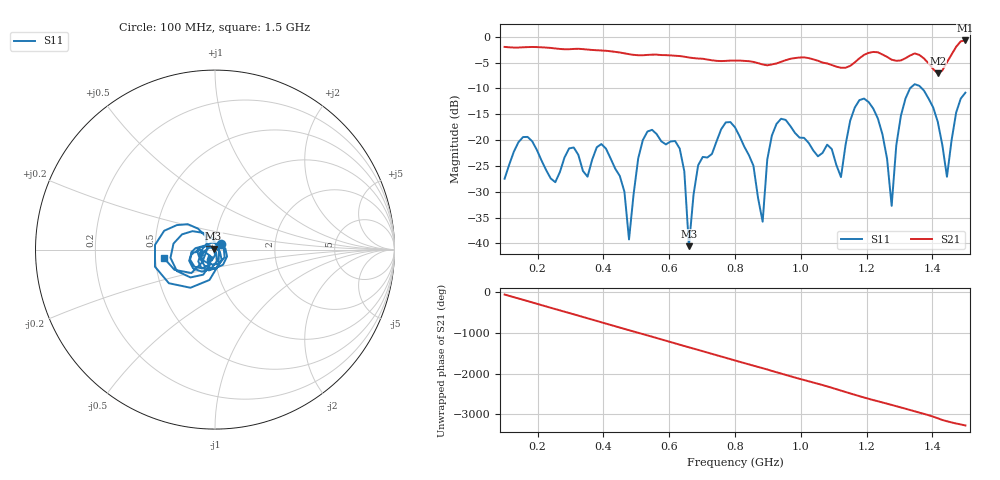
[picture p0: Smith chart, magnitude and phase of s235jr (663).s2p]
! NanoVNA-App
! Date: 2025-09-25 15:09:20
! Start: 100MHz Stop: 1,5GHz Points: 101
! S-Parameter data: F S11 S21 S12 S22
# Hz S RI R 50
!  Frequency  S11_Real  S11_Imag  S21_Real  S21_Imag  S12_Real  S12_Imag  S22_Real  S22_Imag
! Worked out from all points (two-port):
!   101 points, 100 MHz to 1.5 GHz, reference 50 ohm
!   highest |S21| = -0.71 dB at 1.5 GHz (marker M1); lowest = -7.1 dB at 1.416 GHz (marker M2)
!   |S21| within 3 dB of the highest: start of sweep to 627.9 MHz; 1.188 GHz to 1.257 GHz (68.93 MHz wide, 5.64 % of centre) (the widest 2 of 4)
!   lowest |S11| = -40.5 dB at 660 MHz (marker M3), VSWR 1.02, Z = 49.2 + j0.536 ohm
!   |S11| at or under -10 dB: start of sweep to 1.332 GHz; 1.368 GHz to end of sweep
!   S12 and S22 are empty: the file has one direction only
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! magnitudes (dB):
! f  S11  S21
! 100 MHz  -27.5  -2.0
! 156 MHz  -19.4  -2.0
! 338 MHz  -26.0  -2.4
! 408 MHz  -21.7  -2.7
! 478 MHz  -39.2  -3.4
! 520 MHz  -20.0  -3.6
! 576 MHz  -20.2  -3.5
! 632 MHz  -21.6  -3.7
! 660 MHz  -40.5  -4.0
! 688 MHz  -24.9  -4.2
! 800 MHz  -17.5  -4.6
! 884 MHz  -35.8  -5.4
! 926 MHz  -16.9  -5.2
! 1.038 GHz  -22.0  -4.4
! 1.122 GHz  -27.1  -6.0
! 1.192 GHz  -12.0  -3.5
! 1.248 GHz  -18.9  -3.4
! 1.276 GHz  -32.7  -4.4
! 1.332 GHz  -10.0  -3.6
! 1.416 GHz  -16.4  -7.1
! 1.444 GHz  -27.1  -4.9
! 1.5 GHz  -10.8  -0.7
